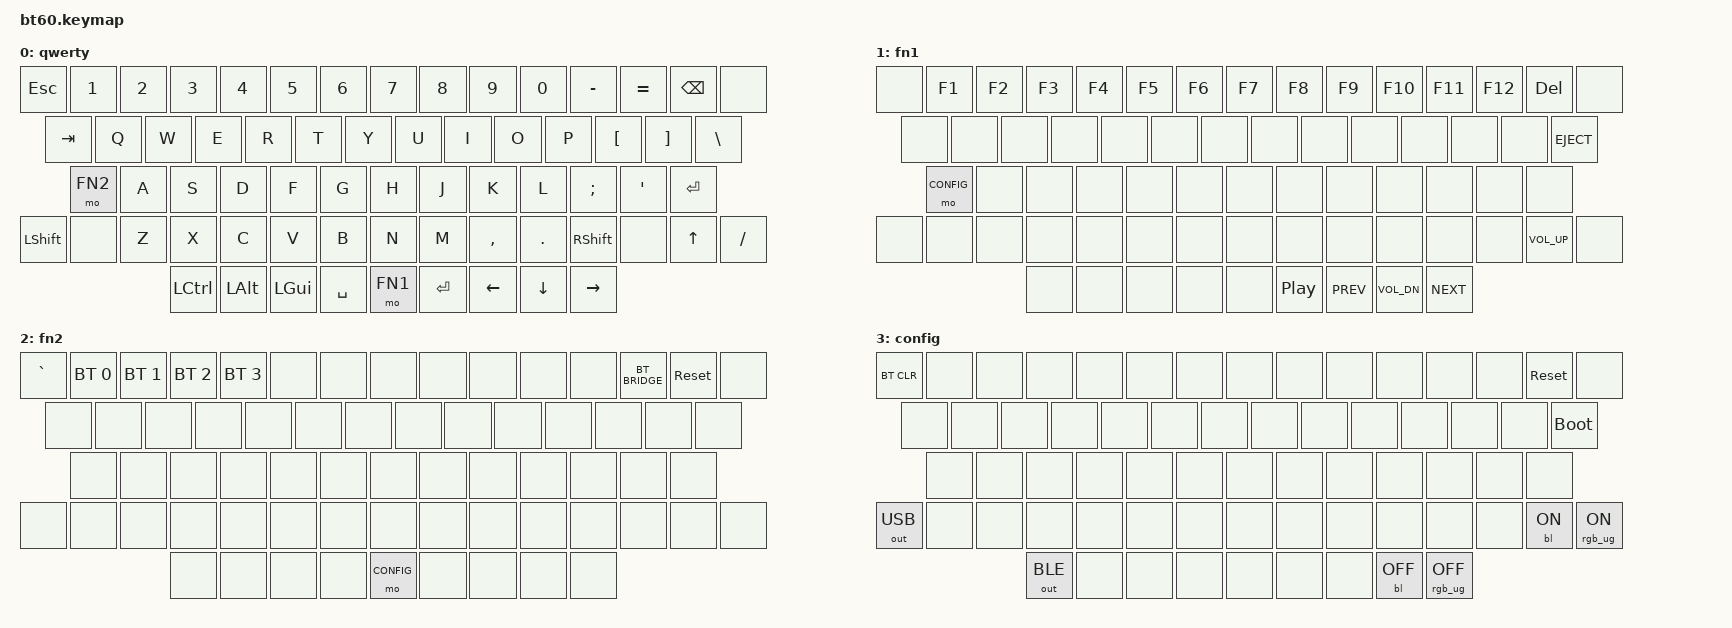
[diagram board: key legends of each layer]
/*
 * Copyright (c) 2020 The ZMK Contributors
 *
 * SPDX-License-Identifier: MIT
 */

#include <behaviors.dtsi>
#include <dt-bindings/zmk/keys.h>
#include <dt-bindings/zmk/bt.h>
#include <dt-bindings/zmk/rgb.h>
#include <dt-bindings/zmk/backlight.h>
#include <dt-bindings/zmk/outputs.h>

&kscan0 {
    debounce-press-ms = <5>;
    debounce-release-ms = <3>;
};

#define QWERTY 0
#define FN1 1
#define FN2 2
#define CONFIG 3
#define BRIDGE 4

/ {
	keymap0: keymap {
		compatible = "zmk,keymap";

		qwerty {
			bindings = <
// ┌──────────┬───────────┬───────────┬───────────┬───────────┬───────────┬───────────┬───────────┬───────────┬───────────┬───────────┬───────────┬───────────┬──────────────────┐
     &kp ESC      &kp N1      &kp N2      &kp N3      &kp N4      &kp N5      &kp N6      &kp N7      &kp N8      &kp N9      &kp N0    &kp MINUS   &kp EQUAL    &kp BSPC &none
// ├──────────┴───┬───────┴───┬───────┴───┬───────┴───┬───────┴───┬───────┴───┬───────┴───┬───────┴───┬───────┴───┬───────┴───┬───────┴───┬───────┴───┬───────┴───┬──────────────┤
       &kp TAB        &kp Q       &kp W       &kp E       &kp R       &kp T       &kp Y       &kp U       &kp I       &kp O       &kp P      &kp LBKT    &kp RBKT      &kp BSLH
// ├──────────────┴──┬────────┴───┬───────┴────┬──────┴────┬──────┴────┬──────┴────┬──────┴────┬──────┴────┬──────┴────┬──────┴────┬──────┴────┬──────┴────┬──────┴──────────────┤
        &mo FN2           &kp A        &kp S       &kp D       &kp F       &kp G       &kp H       &kp J       &kp K       &kp L      &kp SEMI    &kp SQT           &kp RET
// ├─────────────────┴────┬───────┴────┬───────┴────┬──────┴────┬──────┴────┬──────┴────┬──────┴────┬──────┴────┬──────┴────┬──────┴────┬──────┴───────────┼───────────┬─────────┤
       &kp LSHFT &none         &kp Z        &kp X       &kp C       &kp V       &kp B       &kp N       &kp M     &kp COMMA    &kp DOT    &kp RSHFT &none      &kp UP     &kp FSLH
// ├──────────────┬───────┴────────┬───┴────────────┼───────────┴───────────┴───────────┴───────────┴───────────┴─┬─────────┴──┬────────┴───┬────────────┬─┴──────────┬┴─────────┤
      &kp LCTRL        &kp LALT         &kp LGUI                               &kp SPACE                              &mo FN1     &kp RET     &kp LEFT      &kp DOWN    &kp RIGHT
// └──────────────┴────────────────┴────────────────┴─────────────────────────────────────────────────────────────┴────────────┴────────────┴────────────┴────────────┴──────────┘
			>;
		};

		fn1 {
			bindings = <
// ┌────────────┬──────────────┬──────────────┬──────────────┬──────────────┬──────────────┬──────────────┬──────────────┬──────────────┬──────────────┬──────────────┬──────────────┬──────────────┬────────────────────────┐
       &none         &kp F1         &kp F2         &kp F3         &kp F4         &kp F5         &kp F6         &kp F7         &kp F8         &kp F9         &kp F10        &kp F11        &kp F12          &kp DEL &none
// ├────────────┴─────┬────────┴─────┬────────┴─────┬────────┴─────┬────────┴─────┬────────┴─────┬────────┴─────┬────────┴─────┬────────┴─────┬────────┴─────┬────────┴─────┬────────┴─────┬────────┴─────┬──────────────────┤
          &none             &none          &none          &none          &none          &none          &none          &none          &none          &none          &none          &none          &none          &kp C_EJECT
// ├──────────────────┴───┬──────────┴────┬─────────┴─────┬────────┴─────┬────────┴─────┬────────┴─────┬────────┴─────┬────────┴─────┬────────┴─────┬────────┴─────┬────────┴─────┬────────┴─────┬────────┴──────────────────┤
         &mo CONFIG             &none           &none           &none          &none          &none          &none          &none          &none          &none          &none          &none                 &none
// ├──────────────────────┴─────┬─────────┴─────┬─────────┴─────┬────────┴─────┬────────┴─────┬────────┴─────┬────────┴─────┬────────┴─────┬────────┴─────┬────────┴─────┬────────┴──────────────┼──────────────┬────────────┤
            &none &none               &none           &none           &none          &none          &none          &none          &none          &none          &none          &none &none         &kp C_VOL_UP     &none
// ├─────────────────┬──────────┴────────┬──────┴────────────┬──┴──────────────┴──────────────┴──────────────┴──────────────┴──────────────┴─┬────────────┴───┬──────────┴─────┬───────────────┬─┴─────────────┬┴────────────┤
         &none               &none               &none                                             &none                                            &none          &kp C_PP        &kp C_PREV     &kp C_VOL_DN     &kp C_NEXT
// └─────────────────┴───────────────────┴───────────────────┴───────────────────────────────────────────────────────────────────────────────┴────────────────┴────────────────┴───────────────┴───────────────┴─────────────┘
			>;
		};

		fn2 {
			bindings = <
// ┌────────────────┬─────────────────┬─────────────────┬─────────────────┬─────────────────┬─────────────────┬─────────────────┬─────────────────┬─────────────────┬─────────────────┬─────────────────┬─────────────────┬─────────────────┬──────────────────────────────┐
       &kp GRAVE        &bt BT_SEL 0      &bt BT_SEL 1      &bt BT_SEL 2      &bt BT_SEL 3        &none             &none             &none             &none             &none             &none             &none        &bt BT_SEL BRIDGE         &sys_reset &none
// ├────────────────┴──────┬──────────┴──────┬──────────┴──────┬──────────┴──────┬──────────┴──────┬──────────┴──────┬──────────┴──────┬──────────┴──────┬──────────┴──────┬──────────┴──────┬──────────┴──────┬──────────┴──────┬──────────┴──────┬───────────────────────┤
            &none                 &none             &none             &none             &none             &none             &none             &none             &none             &none             &none             &none             &none                &none
// ├───────────────────────┴────┬────────────┴─────┬───────────┴──────┬──────────┴──────┬──────────┴──────┬──────────┴──────┬──────────┴──────┬──────────┴──────┬──────────┴──────┬──────────┴──────┬──────────┴──────┬──────────┴──────┬──────────┴───────────────────────┤
               &none                    &none              &none             &none             &none             &none             &none             &none             &none             &none             &none             &none                     &none
// ├────────────────────────────┴──────┬───────────┴──────┬───────────┴──────┬──────────┴──────┬──────────┴──────┬──────────┴──────┬──────────┴──────┬──────────┴──────┬──────────┴──────┬──────────┴──────┬──────────┴─────────────────┴┬─────────────────┬───────────────┤
               &none &none                   &none              &none             &none             &none             &none             &none             &none             &none             &none                &none &none                  &none            &none
// ├─────────────────────┬─────────────┴─────────┬────────┴──────────────┬───┴─────────────────┴─────────────────┴─────────────────┴─────────────────┴─────────────────┴────┬────────────┴──────┬──────────┴────────┬──────────────────┬─┴────────────────┬┴───────────────┤
           &none                   &none                   &none                                                         &none                                                   &mo CONFIG            &none               &none              &none            &none
// └─────────────────────┴───────────────────────┴───────────────────────┴──────────────────────────────────────────────────────────────────────────────────────────────────┴───────────────────┴───────────────────┴──────────────────┴──────────────────┴────────────────┘
			>;
		};

		config {
			bindings = <
// ┌────────────────┬─────────────────┬─────────────────┬─────────────────┬─────────────────┬─────────────────┬─────────────────┬─────────────────┬─────────────────┬─────────────────┬─────────────────┬─────────────────┬─────────────────┬──────────────────────────────┐
      &bt BT_CLR          &none             &none             &none             &none             &none             &none             &none             &none             &none             &none             &none              &none             &sys_reset &none
// ├────────────────┴──────┬──────────┴──────┬──────────┴──────┬──────────┴──────┬──────────┴──────┬──────────┴──────┬──────────┴──────┬──────────┴──────┬──────────┴──────┬──────────┴──────┬──────────┴──────┬──────────┴──────┬──────────┴──────┬───────────────────────┤
            &none                 &none             &none             &none             &none             &none             &none             &none             &none             &none             &none             &none             &none              &bootloader
// ├───────────────────────┴────┬────────────┴─────┬───────────┴──────┬──────────┴──────┬──────────┴──────┬──────────┴──────┬──────────┴──────┬──────────┴──────┬──────────┴──────┬──────────┴──────┬──────────┴──────┬──────────┴──────┬──────────┴───────────────────────┤
               &none                    &none              &none             &none             &none             &none             &none             &none             &none             &none             &none             &none                     &none
// ├────────────────────────────┴──────┬───────────┴──────┬───────────┴──────┬──────────┴──────┬──────────┴──────┬──────────┴──────┬──────────┴──────┬──────────┴──────┬──────────┴──────┬──────────┴──────┬──────────┴─────────────────┴┬─────────────────┬───────────────┤
           &out OUT_USB &none                 &none              &none             &none             &none             &none             &none             &none             &none             &none                &none &none              &bl BL_ON       &rgb_ug RGB_ON
// ├─────────────────────┬─────────────┴─────────┬────────┴──────────────┬───┴─────────────────┴─────────────────┴─────────────────┴─────────────────┴─────────────────┴────┬────────────┴──────┬──────────┴────────┬──────────────────┬─┴────────────────┬┴───────────────┤
        &out OUT_BLE               &none                   &none                                                         &none                                                      &none               &none               &none            &bl BL_OFF     &rgb_ug RGB_OFF
// └─────────────────────┴───────────────────────┴───────────────────────┴──────────────────────────────────────────────────────────────────────────────────────────────────┴───────────────────┴───────────────────┴──────────────────┴──────────────────┴────────────────┘
			>;
		};
	};
};
